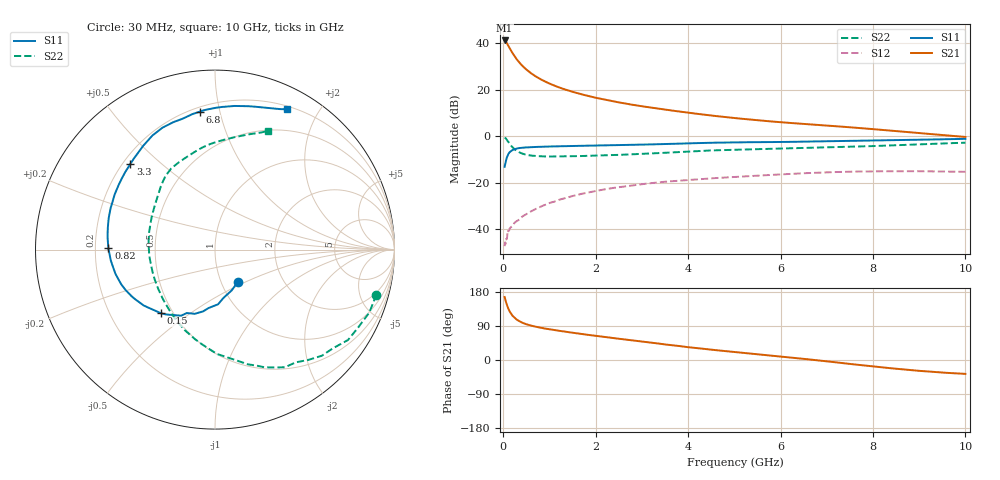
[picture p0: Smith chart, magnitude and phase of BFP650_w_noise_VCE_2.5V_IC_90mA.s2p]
! Infineon Technologies  Discrete & RF Semiconductors
! BFP650
! VCE =  2.5 V,  IC =  90 mA
! Common Emitter S-Parameters:  Jan 2016
# GHz  S  MA  R  50
!  f  S11  S21  S12  S22
! GHz  MAG  ANG  MAG  ANG  MAG  ANG  MAG  ANG
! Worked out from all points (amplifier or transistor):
!   229 points, 30 MHz to 10 GHz, reference 50 ohm
!   highest |S21| = 41.2 dB at 30 MHz (marker M1)
!   |S21| within 3 dB of that: start of sweep to 130.3 MHz
!   unconditionally stable (mu >= 1): 1.367 GHz to end of sweep
!   at 280 MHz: K = 0.62, MSG = 35.1 dB, |S12| = -36.7 dB
!   at 1.78 GHz: K = 1.02, MAG = 20.2 dB, |S12| = -24.5 dB
!   at 10 GHz: K = 1.03, MAG = 6.4 dB, |S12| = -15.3 dB
!   lowest NFmin = 1.34 dB at 450 MHz
!   S11 on the Smith chart (normalised r, x): 30 MHz: 1.20, -0.45; 150 MHz: 0.43, -0.39; 820 MHz: 0.25, +0.01; 3.3 GHz: 0.23, +0.40; 6.8 GHz: 0.23, +0.87; 10 GHz: 0.23, +1.61
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0.03  0.2197 -54.2  115.3 166.2  0.0043 88.6  0.9332 -15.6
0.04  0.2461 -68.0  113.9 161.4  0.0052 88.8  0.9286 -22.2
0.05  0.2737 -80.2  110.2 156.7  0.0048 80.1  0.9077 -28.7
0.06  0.305 -86.7  108.2 152.9  0.0061 85.4  0.896 -34.2
0.08  0.3506 -100.9  100.6 145.0  0.0062 76.1  0.8392 -44.8
0.11  0.4136 -117.1  89.21 135.5  0.009 66.8  0.7624 -59.3
0.15  0.4652 -130.3  75.31 125.9  0.0107 61.5  0.6656 -73.9
0.2  0.5045 -141.8  61.87 116.9  0.0117 59.1  0.581 -89.0
0.24  0.5241 -148.2  53.77 112.0  0.0135 56.5  0.531 -98.2
0.3  0.5458 -155.4  44.25 105.9  0.015 60.1  0.4799 -110.4
0.34  0.555 -158.9  39.54 102.9  0.016 57.7  0.456 -116.7
0.5  0.5746 -169.3  27.3 94.3  0.0209 61.2  0.3999 -136.6
0.6  0.5832 -173.6  22.77 90.7  0.0241 62.0  0.3845 -145.4
0.82  0.5939 179.2  16.66 84.9  0.0308 61.7  0.37 -159.7
1.2  0.6075 169.9  11.32 77.2  0.0427 60.5  0.3673 -176.0
1.7  0.6223 160.1  7.97 68.7  0.0577 56.7  0.3751 169.7
3.3  0.6708 134.6  4.002 44.4  0.1001 39.5  0.4297 139.1
3.4  0.675 133.1  3.869 42.8  0.1025 38.4  0.4348 137.6
5.1  0.7406 112.3  2.411 19.9  0.1346 20.7  0.5159 117.1
6.8  0.7731 96.4  1.758 -0.8  0.1643 3.4  0.5672 98.6
8.4  0.8197 77.1  1.316 -21.9  0.1764 -14.6  0.6346 80.4
10  0.8795 62.8  0.966 -36.6  0.1716 -27.1  0.7262 65.8
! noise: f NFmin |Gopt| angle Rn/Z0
0.45  1.34  0.53  -171  0.06
0.9  1.36  0.54  -165  0.07
1.9  1.5  0.57  -150  0.09
2.4  1.59  0.56  -141  0.12
3.5  1.78  0.56  -118  0.22
